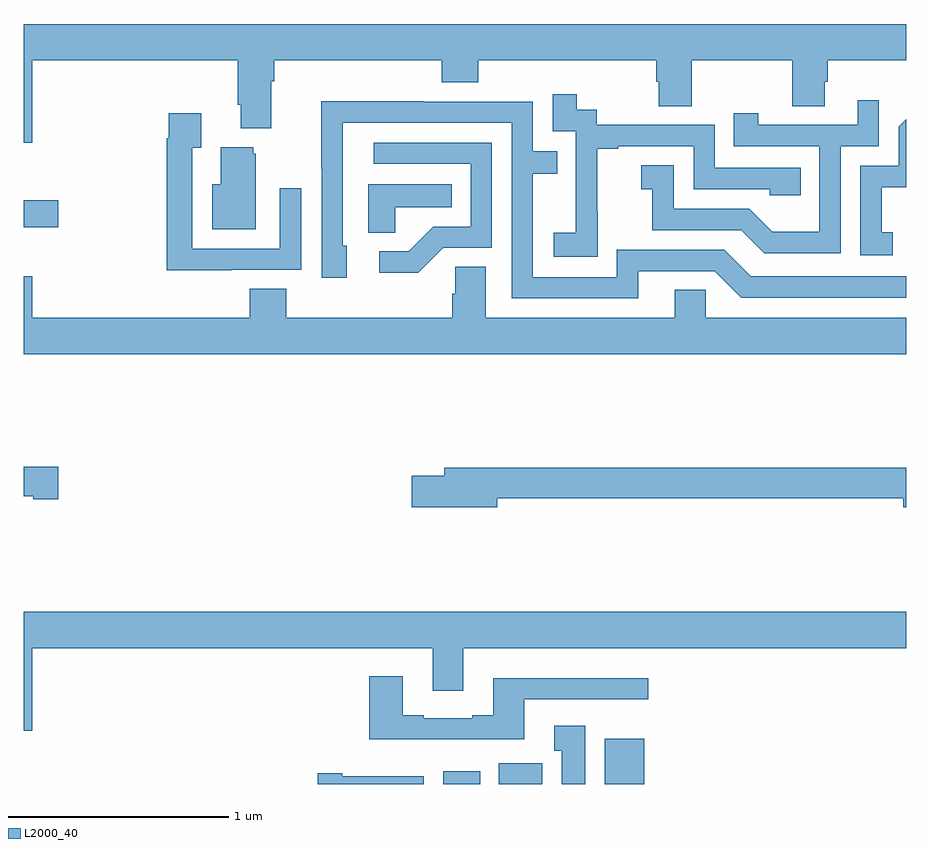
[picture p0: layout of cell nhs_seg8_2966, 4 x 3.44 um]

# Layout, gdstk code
import gdstk
lib = gdstk.Library(unit=1e-6, precision=1e-09)
def R(c, l, rs):  # rectangles x0, y0, x1, y1
    for r in rs: c.add(gdstk.rectangle(r[:2], r[2:], *l))
def P(c, l, *ps):  # polygons
    for p in ps: c.add(gdstk.Polygon(p, *l))
L2000_40 = (2000, 40)

nhs_seg8_2966 = lib.new_cell('nhs_seg8_2966')
R(nhs_seg8_2966, L2000_40, [(298.901,1099.9,299.068,1099.957), (299.153,1099.9,299.349,1099.993), (299.633,1099.9,299.812,1100.104), (297,1102.424,297.157,1102.546)])
P(nhs_seg8_2966, L2000_40, [(297.04,1103.18),(297.971,1103.18),(297.971,1102.978),(297.983,1102.978),(297.983,1102.871),(298.123,1102.871),(298.123,1103.084),(298.136,1103.084),(298.136,1103.18),(298.895,1103.18),(298.895,1103.081),(299.06,1103.081),(299.06,1103.18),(299.867,1103.18),(299.867,1103.082),(299.879,1103.082),(299.879,1102.972),(300.027,1102.972),(300.027,1103.18),(300.484,1103.18),(300.484,1102.972),(300.631,1102.972),(300.631,1103.082),(300.644,1103.082),(300.644,1103.18),(301,1103.18),(301,1103.344),(297,1103.344),(297,1102.806),(297.04,1102.806)],
  [(299.601,1102.495),(299.6,1102.495),(299.6,1102.779),(299.695,1102.779),(299.695,1102.791),(300.036,1102.791),(300.036,1102.596),(300.381,1102.596),(300.381,1102.569),(300.521,1102.569),(300.521,1102.692),(300.132,1102.692),(300.132,1102.887),(299.598,1102.887),(299.598,1102.956),(299.506,1102.956),(299.506,1103.026),(299.397,1103.026),(299.397,1102.857),(299.502,1102.857),(299.502,1102.628),(299.501,1102.628),(299.501,1102.399),(299.403,1102.399),(299.403,1102.289),(299.601,1102.289)],
  [(300.702,1102.791),(300.876,1102.791),(300.876,1102.999),(300.779,1102.999),(300.779,1102.887),(300.328,1102.887),(300.328,1102.939),(300.217,1102.939),(300.217,1102.791),(300.606,1102.791),(300.606,1102.402),(300.392,1102.402),(300.288,1102.506),(299.946,1102.506),(299.946,1102.705),(299.799,1102.705),(299.799,1102.595),(299.848,1102.595),(299.848,1102.41),(300.251,1102.41),(300.356,1102.305),(300.702,1102.305)],
  [(299.785,1102.224),(300.132,1102.224),(300.252,1102.104),(301,1102.104),(301,1102.2),(300.294,1102.2),(300.174,1102.32),(299.688,1102.32),(299.688,1102.197),(299.307,1102.197),(299.307,1102.666),(299.417,1102.666),(299.417,1102.767),(299.307,1102.767),(299.307,1102.992),(298.811,1102.992),(298.811,1102.994),(298.348,1102.994),(298.348,1102.687),(298.35,1102.687),(298.35,1102.194),(298.465,1102.194),(298.465,1102.338),(298.446,1102.338),(298.446,1102.896),(299.211,1102.896),(299.211,1102.101),(299.785,1102.101)],
  [(297.941,1102.23),(298.257,1102.23),(298.257,1102.6),(298.161,1102.6),(298.161,1102.326),(297.765,1102.326),(297.765,1102.783),(297.805,1102.783),(297.805,1102.939),(297.657,1102.939),(297.657,1102.826),(297.649,1102.826),(297.649,1102.229),(297.941,1102.229)],
  [(300.938,1102.401),(300.889,1102.401),(300.889,1102.605),(301,1102.605),(301,1102.912),(300.966,1102.878),(300.966,1102.701),(300.792,1102.701),(300.792,1102.296),(300.938,1102.296)],
  [(298.902,1102.329),(299.121,1102.329),(299.121,1102.806),(298.587,1102.806),(298.587,1102.71),(299.025,1102.71),(299.025,1102.425),(298.856,1102.425),(298.745,1102.314),(298.611,1102.314),(298.611,1102.217),(298.789,1102.217)],
  [(298.051,1102.755),(298.04,1102.755),(298.04,1102.786),(297.893,1102.786),(297.893,1102.618),(297.854,1102.618),(297.854,1102.415),(298.051,1102.415)],
  [(298.683,1102.514),(298.94,1102.514),(298.94,1102.618),(298.562,1102.618),(298.562,1102.399),(298.683,1102.399)],
  [(301,1102.012),(300.09,1102.012),(300.09,1102.139),(299.951,1102.139),(299.951,1102.012),(299.095,1102.012),(299.095,1102.244),(298.956,1102.244),(298.956,1102.121),(298.943,1102.121),(298.943,1102.012),(298.19,1102.012),(298.19,1102.145),(298.025,1102.145),(298.025,1102.012),(297.04,1102.012),(297.04,1102.201),(297,1102.201),(297,1101.848),(301,1101.848)],
  [(297.157,1101.338),(297,1101.338),(297,1101.203),(297.044,1101.203),(297.044,1101.191),(297.157,1101.191)],
  [(299.146,1101.196),(300.986,1101.196),(300.986,1101.154),(301,1101.154),(301,1101.332),(298.907,1101.332),(298.907,1101.296),(298.758,1101.296),(298.758,1101.154),(299.146,1101.154)],
  [(297.04,1100.516),(298.853,1100.516),(298.853,1100.322),(298.993,1100.322),(298.993,1100.516),(301,1100.516),(301,1100.68),(297,1100.68),(297,1100.142),(297.04,1100.142)],
  [(299.269,1100.283),(299.83,1100.283),(299.83,1100.38),(299.129,1100.38),(299.129,1100.212),(299.033,1100.212),(299.033,1100.199),(298.813,1100.199),(298.813,1100.212),(298.717,1100.212),(298.717,1100.389),(298.565,1100.389),(298.565,1100.102),(299.269,1100.102)],
  [(299.545,1100.164),(299.405,1100.164),(299.405,1100.051),(299.438,1100.051),(299.438,1099.9),(299.545,1099.9)],
  [(298.813,1099.936),(298.444,1099.936),(298.444,1099.949),(298.332,1099.949),(298.332,1099.9),(298.813,1099.9)])

lib.write_gds('nhs_seg8_2966.gds')
